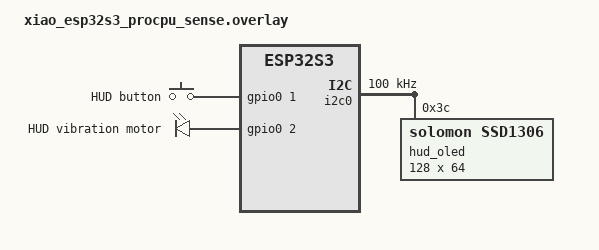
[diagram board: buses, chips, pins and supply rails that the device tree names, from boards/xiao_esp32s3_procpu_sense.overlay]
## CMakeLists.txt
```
cmake_minimum_required(VERSION 3.20.0)

find_package(Zephyr REQUIRED HINTS $ENV{ZEPHYR_BASE})
project(rs_nexus_ar_hud)

target_include_directories(app PRIVATE
    include
    src/wifi
    src/vibration
    src/button
    src/display
    src/state_machine
    src/dummy
    src/nexus
)

target_sources(app PRIVATE
    src/main.c
    src/wifi/wifi_manager.c
    src/wifi/wifi_retry.c
    src/button/button_manager.c
    src/display/display_manager.c
    src/state_machine/hud_model.c
    src/state_machine/hud_state_machine.c
    src/vibration/vibration_manager.c
    src/nexus/nexus_event_parser.c
    src/nexus/nexus_receive.c
)
if(CONFIG_NEXUS_DUMMY)
    target_sources(app PRIVATE src/dummy/dummy_nexus_client.c)
else()
    target_sources(app PRIVATE src/nexus/nexus_client.c)
endif()
```

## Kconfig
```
mainmenu "RS Nexus AR HUD"

menu "Wi-Fi manager"

config WIFI_MANAGER_SSID
    string "Wi-Fi SSID"
    default ""

config WIFI_MANAGER_PSK
    string "Wi-Fi password"
    default ""

config WIFI_MANAGER_OPEN_NETWORK
    bool "Use an open Wi-Fi network"
    default n

config WIFI_MANAGER_LOG_LEVEL
    int "Wi-Fi manager log level"
    range 0 4
    default 3
    help
      0 = disabled
      1 = error
      2 = warning
      3 = information
      4 = debug

endmenu

menu "NEIA event client"
config NEXUS_DUMMY
    bool "Use simulated events instead of NEIA"
    default n
    help
      Mutually exclusive build-time alternative. No commands reach Core.
config NEXUS_HOST
    string "NEIA host override (empty uses DHCP gateway)"
    default ""
config NEXUS_PORT
    int "NEIA WebSocket port"
    range 1 65535
    default 8080
config NEXUS_PATH
    string "NEIA WebSocket path"
    default "/api/v1/gateway/events"
endmenu

source "Kconfig.zephyr"
```

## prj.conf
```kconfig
#
# Core
#
CONFIG_MAIN_STACK_SIZE=6144
CONFIG_CBPRINTF_FP_SUPPORT=y
CONFIG_SYSTEM_WORKQUEUE_STACK_SIZE=4096
CONFIG_HEAP_MEM_POOL_SIZE=16384


#
# Logging and USB serial console
#
CONFIG_LOG=y
CONFIG_LOG_DEFAULT_LEVEL=3
CONFIG_PRINTK=y
CONFIG_CONSOLE=y
CONFIG_SERIAL=y

#
# GPIO, button and vibration motor
#
CONFIG_GPIO=y
CONFIG_INPUT=y
CONFIG_INPUT_GPIO_KEYS=y

#
# I2C OLED display
#
CONFIG_I2C=y
CONFIG_DISPLAY=y
CONFIG_SSD1306=y
CONFIG_CHARACTER_FRAMEBUFFER=y
CONFIG_CHARACTER_FRAMEBUFFER_USE_DEFAULT_FONTS=y
CONFIG_THREAD_NAME=y

#
# Networking
#
CONFIG_NETWORKING=y
CONFIG_NET_MGMT=y
CONFIG_NET_MGMT_EVENT=y
CONFIG_NET_MGMT_EVENT_INFO=y
CONFIG_NET_TCP=y
CONFIG_NET_CONTEXT_SNDTIMEO=y
CONFIG_NET_LOG=y
CONFIG_NET_WEBSOCKET_LOG_LEVEL_DBG=y
CONFIG_PSA_WANT_ALG_SHA_1=y

#
# Wi-Fi
#
# The application worker owns retry timing and DHCP deadlines.
CONFIG_ESP32_WIFI_STA_RECONNECT=n
CONFIG_WIFI=y
CONFIG_NET_L2_WIFI_MGMT=y
CONFIG_WIFI_LOG_LEVEL_DBG=y
# CONFIG_WIFI_MGMT_EXT=y

#
# IPv4 and DHCP
#
CONFIG_NET_IPV4=y
CONFIG_NET_IPV6=n
CONFIG_NET_DHCPV4=y

#
# Sockets
#
CONFIG_NET_SOCKETS=y
#CONFIG_NET_SOCKETS_POSIX_NAMES=y

#
# DNS
#
CONFIG_DNS_RESOLVER=y

#
# Nexus event transport
#
CONFIG_HTTP_CLIENT=y
CONFIG_WEBSOCKET_CLIENT=y

#
# Network resources
#
CONFIG_NET_PKT_RX_COUNT=10
CONFIG_NET_PKT_TX_COUNT=10
CONFIG_NET_BUF_RX_COUNT=20
CONFIG_NET_BUF_TX_COUNT=20
#CONFIG_NET_TCP_WORKQ_STACK_SIZE=2048

CONFIG_NET_TX_STACK_SIZE=2048
CONFIG_NET_RX_STACK_SIZE=2048

#
# Application Wi-Fi settings
#
CONFIG_WIFI_MANAGER_SSID="NexusEdge"
CONFIG_WIFI_MANAGER_PSK="replace-with-password"
CONFIG_WIFI_MANAGER_OPEN_NETWORK=n
CONFIG_WIFI_MANAGER_LOG_LEVEL=3
```

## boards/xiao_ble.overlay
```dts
/*
 * XIAO BLE Sense overlay.
 *
 * The Sense board variant already defines the onboard LSM6DS3TR-C IMU.
 */
```

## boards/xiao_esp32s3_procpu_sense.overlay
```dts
#include <zephyr/dt-bindings/gpio/gpio.h>
#include <zephyr/dt-bindings/input/input-event-codes.h>

/ {
    aliases {
        sw0 = &hud_button;
        vibration0 = &hud_vibration;
    };

    chosen {
        zephyr,display = &hud_oled;
    };

    buttons {
        compatible = "gpio-keys";

        hud_button: button_0 {
            label = "HUD button";

            /*
             * Grove D0/D1 connector:
             * signal is assumed to be XIAO D0 / GPIO1.
             *
             * Grove Button:
             * released = low
             * pressed  = high
             */
            gpios = <&gpio0 1 (GPIO_PULL_DOWN | GPIO_ACTIVE_HIGH)>;

            zephyr,code = <INPUT_KEY_0>;
        };
    };

    outputs {
        compatible = "gpio-leds";

        hud_vibration: vibration_motor {
            label = "HUD vibration motor";

            /*
             * Grove D2/D3 connector:
             */
            gpios = <&gpio0 2 GPIO_ACTIVE_HIGH>;
        };
    };
};

&i2c0 {
    status = "okay";
    clock-frequency = <I2C_BITRATE_STANDARD>;

    hud_oled: ssd1306@3c {
        compatible = "solomon,ssd1306";
        reg = <0x3c>;

        width = <128>;
        height = <64>;

        segment-offset = <0>;
        page-offset = <0>;
        display-offset = <0>;
        multiplex-ratio = <63>;
        prechargep = <0x22>;

        segment-remap;
        com-invdir;

        status = "okay";
    };
};
```

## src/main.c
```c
#include <zephyr/kernel.h>
#include <zephyr/logging/log.h>

#include "button_manager.h"
#include "display_manager.h"
#include "vibration_manager.h"
#if defined(CONFIG_NEXUS_DUMMY)
#include "dummy_nexus_client.h"
#else
#include "nexus_client.h"
#endif
#include "hud_state_machine.h"
#include "wifi_manager.h"

LOG_MODULE_REGISTER(app, LOG_LEVEL_INF);

static void handle_button_press(void)
{
    hud_state_machine_handle_single_press();
}

#if defined(CONFIG_NEXUS_DUMMY)
static void handle_nexus_event(
    const struct hud_event *event
)
{
    int error = hud_state_machine_handle_event(event);

    if (error != 0) {
        LOG_ERR(
            "Failed to handle dummy Nexus event: %d",
            error
        );
    }
}

#endif

static void handle_wifi_state(enum wifi_manager_state state)
{
    const struct hud_event event = {
        .type = HUD_EVENT_WIFI,
        .connection = state == WIFI_MANAGER_READY ? HUD_CONNECTED :
            (state == WIFI_MANAGER_CONNECTING || state == WIFI_MANAGER_ASSOCIATED)
                ? HUD_CONNECTING : HUD_DISCONNECTED,
    };
    hud_state_machine_handle_event(&event);
#if !defined(CONFIG_NEXUS_DUMMY)
    nexus_client_wifi_changed();
#endif
}

int main(void)
{
    LOG_INF("Starting Nexus AR HUD firmware 0.1.0");

    int error = display_manager_init();

    if (error != 0) {
        LOG_ERR("Display initialization failed: %d", error);
        return error;
    }

    error = hud_state_machine_init(IS_ENABLED(CONFIG_NEXUS_DUMMY), NULL);

    if (error != 0) {
        LOG_ERR("HUD state machine initialization failed: %d", error);
        return error;
    }

    error = vibration_manager_init();
    if (error) {
        LOG_ERR("Vibration initialization failed: %d", error);
        return error;
    }

    error = button_manager_init(handle_button_press, hud_state_machine_handle_double_press);

    if (error != 0) {
        LOG_ERR("Button initialization failed: %d", error);
        return error;
    }

#if defined(CONFIG_NEXUS_DUMMY)
    error = dummy_nexus_client_start(handle_nexus_event);
#else
    error = nexus_client_start();
#endif

    if (error != 0) {
        LOG_ERR("Nexus event client failed to start: %d", error);
        return error;
    }

    LOG_INF("Nexus AR HUD initialized");

    error = wifi_manager_init(handle_wifi_state);

    if (error != 0) {
        LOG_ERR("Wi-Fi initialization failed: %d", error);
    } else {
        /*
         * Preserve the existing driver settling delay.
         * The display, controller and event client are already running.
         */
        k_sleep(K_SECONDS(3));

        error = wifi_manager_connect();

        if (error != 0) {
            LOG_WRN("Wi-Fi connection request failed: %d", error);
        } else {
            LOG_INF("Wi-Fi connection requested");
        }
    }

    while (true) {
        k_sleep(K_FOREVER);
    }

    return 0;
}
```

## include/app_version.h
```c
#pragma once

/*
 * Application firmware version.
 *
 * Keep this in sync with the root VERSION file.
 */

#define APP_VERSION_MAJOR 0
#define APP_VERSION_MINOR 1
#define APP_VERSION_PATCH 0

#define APP_VERSION_STRING "0.1.0"

#define APP_DEVICE_NAME "Nexus AR HUD"
```

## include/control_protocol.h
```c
#pragma once

#include <stdint.h>

/*
 * Device Control Service command protocol.
 *
 * Commands are written as raw little-endian byte payloads.
 *
 * START:
 *   byte 0: opcode = CTRL_START
 *
 * STOP:
 *   byte 0: opcode = CTRL_STOP
 *
 * SET_ODR:
 *   byte 0: opcode = CTRL_SET_ODR
 *   byte 1: odr_hz low byte
 *   byte 2: odr_hz high byte
 *
 * IDENTIFY:
 *   byte 0: opcode = CTRL_IDENTIFY
 *   byte 1: duration_ms low byte
 *   byte 2: duration_ms high byte
 */

enum control_opcode {
    CTRL_START = 0x01,
    CTRL_STOP = 0x02,
    CTRL_SET_ODR = 0x03,
    CTRL_IDENTIFY = 0x04,
    CTRL_GET_STATUS = 0x05,
};

enum imu_odr_hz {
    IMU_ODR_20_HZ = 20,
    IMU_ODR_50_HZ = 50,
    IMU_ODR_100_HZ = 100,
};

#define CONTROL_OPCODE_OFFSET 0

#define CONTROL_START_SIZE_BYTES 1
#define CONTROL_STOP_SIZE_BYTES 1
#define CONTROL_SET_ODR_SIZE_BYTES 3
#define CONTROL_IDENTIFY_SIZE_BYTES 3

#define CONTROL_U16_VALUE_LO_OFFSET 1
#define CONTROL_U16_VALUE_HI_OFFSET 2

#define DEVICE_STATUS_V1_SIZE_BYTES 11
#define DEVICE_STATUS_V2_SIZE_BYTES 19

static inline uint16_t control_get_le16(const uint8_t *buf)
{
    return ((uint16_t)buf[CONTROL_U16_VALUE_LO_OFFSET]) |
           ((uint16_t)buf[CONTROL_U16_VALUE_HI_OFFSET] << 8);
}
```

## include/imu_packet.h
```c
#pragma once

#include <stdint.h>
#include <stddef.h>

/*
 * RS Nexus BLE IMU measurement packet.
 *
 * Transport:
 *   BLE GATT notification from IMU Measurement characteristic.
 *
 * Encoding:
 *   Little-endian raw bytes.
 *
 * Size:
 *   20 bytes exactly.
 *
 * Packet layout:
 *
 *   byte  field
 *   0     version
 *   1     flags
 *   2-3   seq
 *   4-7   timestamp_us
 *   8-9   accel_x
 *   10-11 accel_y
 *   12-13 accel_z
 *   14-15 gyro_x
 *   16-17 gyro_y
 *   18-19 gyro_z
 */

#define IMU_PACKET_VERSION 1
#define IMU_PACKET_SIZE_BYTES 20

#define IMU_PACKET_FLAG_NONE        0x00
#define IMU_PACKET_FLAG_STREAMING   0x01
#define IMU_PACKET_FLAG_ODR_CHANGED 0x02
#define IMU_PACKET_FLAG_IMU_ERROR   0x04

#define IMU_PACKET_VERSION_OFFSET      0
#define IMU_PACKET_FLAGS_OFFSET        1
#define IMU_PACKET_SEQ_OFFSET          2
#define IMU_PACKET_TIMESTAMP_US_OFFSET 4
#define IMU_PACKET_ACCEL_X_OFFSET      8
#define IMU_PACKET_ACCEL_Y_OFFSET      10
#define IMU_PACKET_ACCEL_Z_OFFSET      12
#define IMU_PACKET_GYRO_X_OFFSET       14
#define IMU_PACKET_GYRO_Y_OFFSET       16
#define IMU_PACKET_GYRO_Z_OFFSET       18

static inline void imu_packet_put_u16_le(uint8_t *buf, size_t offset, uint16_t value)
{
    buf[offset] = (uint8_t)(value & 0xff);
    buf[offset + 1] = (uint8_t)((value >> 8) & 0xff);
}

static inline void imu_packet_put_i16_le(uint8_t *buf, size_t offset, int16_t value)
{
    imu_packet_put_u16_le(buf, offset, (uint16_t)value);
}

static inline void imu_packet_put_u32_le(uint8_t *buf, size_t offset, uint32_t value)
{
    buf[offset] = (uint8_t)(value & 0xff);
    buf[offset + 1] = (uint8_t)((value >> 8) & 0xff);
    buf[offset + 2] = (uint8_t)((value >> 16) & 0xff);
    buf[offset + 3] = (uint8_t)((value >> 24) & 0xff);
}

static inline void imu_packet_build_v1(
    uint8_t *buf,
    uint8_t flags,
    uint16_t seq,
    uint32_t timestamp_us,
    int16_t accel_x,
    int16_t accel_y,
    int16_t accel_z,
    int16_t gyro_x,
    int16_t gyro_y,
    int16_t gyro_z)
{
    buf[IMU_PACKET_VERSION_OFFSET] = IMU_PACKET_VERSION;
    buf[IMU_PACKET_FLAGS_OFFSET] = flags;

    imu_packet_put_u16_le(buf, IMU_PACKET_SEQ_OFFSET, seq);
    imu_packet_put_u32_le(buf, IMU_PACKET_TIMESTAMP_US_OFFSET, timestamp_us);

    imu_packet_put_i16_le(buf, IMU_PACKET_ACCEL_X_OFFSET, accel_x);
    imu_packet_put_i16_le(buf, IMU_PACKET_ACCEL_Y_OFFSET, accel_y);
    imu_packet_put_i16_le(buf, IMU_PACKET_ACCEL_Z_OFFSET, accel_z);

    imu_packet_put_i16_le(buf, IMU_PACKET_GYRO_X_OFFSET, gyro_x);
    imu_packet_put_i16_le(buf, IMU_PACKET_GYRO_Y_OFFSET, gyro_y);
    imu_packet_put_i16_le(buf, IMU_PACKET_GYRO_Z_OFFSET, gyro_z);
}
```

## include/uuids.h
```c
#pragma once

#include <zephyr/bluetooth/uuid.h>

/*
 * RS Nexus BLE IMU custom GATT UUIDs.
 *
 * Base UUID pattern:
 *   8e4xxxxx-f315-4f60-9fb8-838830daea50
 *
 * Services:
 *   8e400001... IMU Measurement Service
 *   8e410001... Device Control Service
 *
 * Characteristics:
 *   8e400002... IMU Measurement notify characteristic
 *   8e410002... Device Control command write characteristic
 *   8e410003... Device Status read characteristic
 */

#define BT_UUID_IMU_SERVICE_VAL \
    BT_UUID_128_ENCODE(0x8e400001, 0xf315, 0x4f60, 0x9fb8, 0x838830daea50)

#define BT_UUID_IMU_MEASUREMENT_VAL \
    BT_UUID_128_ENCODE(0x8e400002, 0xf315, 0x4f60, 0x9fb8, 0x838830daea50)

#define BT_UUID_DEVICE_CONTROL_SERVICE_VAL \
    BT_UUID_128_ENCODE(0x8e410001, 0xf315, 0x4f60, 0x9fb8, 0x838830daea50)

#define BT_UUID_DEVICE_CONTROL_COMMAND_VAL \
    BT_UUID_128_ENCODE(0x8e410002, 0xf315, 0x4f60, 0x9fb8, 0x838830daea50)

#define BT_UUID_DEVICE_STATUS_VAL \
    BT_UUID_128_ENCODE(0x8e410003, 0xf315, 0x4f60, 0x9fb8, 0x838830daea50)

#define BT_UUID_IMU_SERVICE \
    BT_UUID_DECLARE_128(BT_UUID_IMU_SERVICE_VAL)

#define BT_UUID_IMU_MEASUREMENT \
    BT_UUID_DECLARE_128(BT_UUID_IMU_MEASUREMENT_VAL)

#define BT_UUID_DEVICE_CONTROL_SERVICE \
    BT_UUID_DECLARE_128(BT_UUID_DEVICE_CONTROL_SERVICE_VAL)

#define BT_UUID_DEVICE_CONTROL_COMMAND \
    BT_UUID_DECLARE_128(BT_UUID_DEVICE_CONTROL_COMMAND_VAL)

#define BT_UUID_DEVICE_STATUS \
    BT_UUID_DECLARE_128(BT_UUID_DEVICE_STATUS_VAL)
```
